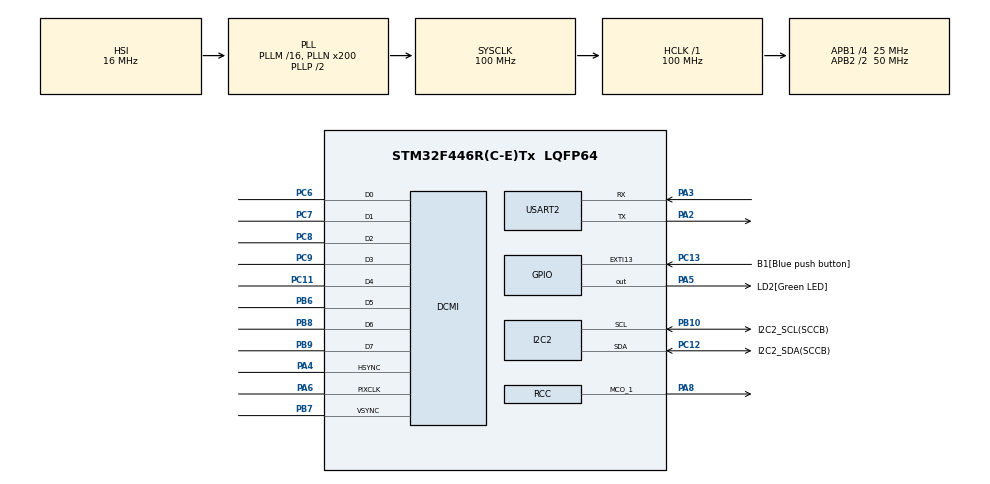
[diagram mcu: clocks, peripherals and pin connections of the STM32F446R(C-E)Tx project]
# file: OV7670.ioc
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DCMI.PCKPolarity=DCMI_PCKPOLARITY_RISING
DCMI.VSPolarity=DCMI_VSPOLARITY_HIGH
Dma.DCMI.0.Direction=DMA_PERIPH_TO_MEMORY
Dma.DCMI.0.FIFOMode=DMA_FIFOMODE_ENABLE
Dma.DCMI.0.FIFOThreshold=DMA_FIFO_THRESHOLD_FULL
Dma.DCMI.0.Instance=DMA2_Stream1
Dma.DCMI.0.MemBurst=DMA_MBURST_INC4
Dma.DCMI.0.MemDataAlignment=DMA_MDATAALIGN_WORD
Dma.DCMI.0.MemInc=DMA_MINC_ENABLE
Dma.DCMI.0.Mode=DMA_CIRCULAR
Dma.DCMI.0.PeriphBurst=DMA_PBURST_SINGLE
Dma.DCMI.0.PeriphDataAlignment=DMA_PDATAALIGN_WORD
Dma.DCMI.0.PeriphInc=DMA_PINC_DISABLE
Dma.DCMI.0.Priority=DMA_PRIORITY_HIGH
Dma.Request0=DCMI
Dma.Request1=USART2_TX
Dma.Request2=USART2_RX
Dma.USART2_RX.2.Direction=DMA_PERIPH_TO_MEMORY
Dma.USART2_RX.2.FIFOMode=DMA_FIFOMODE_DISABLE
Dma.USART2_RX.2.Instance=DMA1_Stream5
Dma.USART2_RX.2.MemDataAlignment=DMA_MDATAALIGN_BYTE
Dma.USART2_RX.2.MemInc=DMA_MINC_ENABLE
Dma.USART2_RX.2.Mode=DMA_NORMAL
Dma.USART2_RX.2.PeriphDataAlignment=DMA_PDATAALIGN_BYTE
Dma.USART2_RX.2.PeriphInc=DMA_PINC_DISABLE
Dma.USART2_RX.2.Priority=DMA_PRIORITY_LOW
Dma.USART2_TX.1.Direction=DMA_MEMORY_TO_PERIPH
Dma.USART2_TX.1.FIFOMode=DMA_FIFOMODE_DISABLE
Dma.USART2_TX.1.Instance=DMA1_Stream6
Dma.USART2_TX.1.MemDataAlignment=DMA_MDATAALIGN_BYTE
Dma.USART2_TX.1.MemInc=DMA_MINC_ENABLE
Dma.USART2_TX.1.Mode=DMA_NORMAL
Dma.USART2_TX.1.PeriphDataAlignment=DMA_PDATAALIGN_BYTE
Dma.USART2_TX.1.PeriphInc=DMA_PINC_DISABLE
Dma.USART2_TX.1.Priority=DMA_PRIORITY_LOW
Mcu.Family=STM32F4
Mcu.Name=STM32F446R(C-E)Tx
Mcu.Package=LQFP64
NVIC.DCMI_IRQn=true\:0\:0\:false\:false\:true\:true\:true
NVIC.DMA1_Stream5_IRQn=true\:0\:0\:false\:false\:true\:false\:true
NVIC.DMA1_Stream6_IRQn=true\:0\:0\:false\:false\:true\:false\:true
NVIC.DMA2_Stream1_IRQn=true\:5\:0\:true\:false\:true\:false\:true
NVIC.PriorityGroup=NVIC_PRIORITYGROUP_4
PA13.Signal=SYS_JTMS-SWDIO
PA14.Signal=SYS_JTCK-SWCLK
PA2.Mode=Asynchronous
PA2.Signal=USART2_TX
PA3.Mode=Asynchronous
PA3.Signal=USART2_RX
PA4.Mode=Slave_8_bits_External_Synchro
PA4.Signal=DCMI_HSYNC
PA5.GPIO_Label=LD2[Green LED]
PA5.Signal=GPIO_Output
PA6.Mode=Slave_8_bits_External_Synchro
PA6.Signal=DCMI_PIXCLK
PA8.Mode=Clock-out-1
PA8.Signal=RCC_MCO_1
PB10.GPIO_Label=I2C2_SCL(SCCB)
PB10.Mode=I2C
PB10.Signal=I2C2_SCL
PB3.Signal=SYS_JTDO-SWO
PB6.Mode=Slave_8_bits_External_Synchro
PB6.Signal=DCMI_D5
PB7.Mode=Slave_8_bits_External_Synchro
PB7.Signal=DCMI_VSYNC
PB8.Mode=Slave_8_bits_External_Synchro
PB8.Signal=DCMI_D6
PB9.Mode=Slave_8_bits_External_Synchro
PB9.Signal=DCMI_D7
PC11.Mode=Slave_8_bits_External_Synchro
PC11.Signal=DCMI_D4
PC12.GPIO_Label=I2C2_SDA(SCCB)
PC12.Mode=I2C
PC12.Signal=I2C2_SDA
PC13.GPIO_Label=B1[Blue push button]
PC13.Signal=GPXTI13
PC6.Mode=Slave_8_bits_External_Synchro
PC6.Signal=DCMI_D0
PC7.Mode=Slave_8_bits_External_Synchro
PC7.Signal=DCMI_D1
PC8.Mode=Slave_8_bits_External_Synchro
PC8.Signal=DCMI_D2
PC9.Mode=Slave_8_bits_External_Synchro
PC9.Signal=DCMI_D3
ProjectManager.HeapSize=0x200
ProjectManager.StackSize=0x400
ProjectManager.TargetToolchain=STM32CubeIDE
RCC.AHBFreq_Value=100000000
RCC.APB1CLKDivider=RCC_HCLK_DIV4
RCC.APB1Freq_Value=25000000
RCC.APB1TimFreq_Value=50000000
RCC.APB2CLKDivider=RCC_HCLK_DIV2
RCC.APB2Freq_Value=50000000
RCC.APB2TimFreq_Value=100000000
RCC.CortexFreq_Value=100000000
RCC.HCLKFreq_Value=100000000
RCC.PLLN=200
RCC.RCC_MCO1Source=RCC_MCO1SOURCE_PLLCLK
RCC.RCC_MCODiv1=RCC_MCODIV_4
RCC.SYSCLKFreq_VALUE=100000000
RCC.SYSCLKSource=RCC_SYSCLKSOURCE_PLLCLK
RCC.USBFreq_Value=100000000
RCC.VCOOutputFreq_Value=200000000
USART2.OverSampling=UART_OVERSAMPLING_16
USART2.VirtualMode=VM_ASYNC
board=custom

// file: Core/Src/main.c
/* USER CODE BEGIN Header */
/**
  ******************************************************************************
  * @file           : main.c
  * @brief          : Main program body
  ******************************************************************************
  * @attention
  *
  * <h2><center>&copy; Copyright (c) 2021 STMicroelectronics.
  * All rights reserved.</center></h2>
  *
  * This software component is licensed by ST under BSD 3-Clause license,
  * the "License"; You may not use this file except in compliance with the
  * License. You may obtain a copy of the License at:
  *                        opensource.org/licenses/BSD-3-Clause
  *
  ******************************************************************************
  */
/* USER CODE END Header */
#include "main.h"

/* USER CODE BEGIN Includes */
#include <stdio.h>
#include <stdbool.h>
#include <stdlib.h>
/* USER CODE END Includes */

/* USER CODE BEGIN PTD */
#ifdef __GNUC__
  /* With GCC, small printf (option LD Linker->Libraries->Small printf
     set to 'Yes') calls __io_putchar() */
  #define PUTCHAR_PROTOTYPE int __io_putchar(int ch)
#else
  #define PUTCHAR_PROTOTYPE int fputc(int ch, FILE *f)
#endif /* __GNUC__ */
/* USER CODE END PTD */

/* USER CODE BEGIN PD */
#define QVGA 320*240

/* USER CODE END PD */

DCMI_HandleTypeDef hdcmi;
DMA_HandleTypeDef hdma_dcmi;

I2C_HandleTypeDef hi2c2;

UART_HandleTypeDef huart2;
DMA_HandleTypeDef hdma_usart2_tx;
DMA_HandleTypeDef hdma_usart2_rx;

/* USER CODE BEGIN PV */

/* Image size */
static uint32_t frameBuffer[QVGA];
uint32_t picSize = 0;
/* USER CODE END PV */

void SystemClock_Config(void);
static void MX_GPIO_Init(void);
static void MX_USART2_UART_Init(void);
static void MX_I2C2_Init(void);
static void MX_DMA_Init(void);
static void MX_DCMI_Init(void);

int main(void)
{
  /* USER CODE BEGIN 1 */
//	uint16_t DevAddress_write = 0x42;
//	uint16_t DevAddress_read = 0x43;

  /* USER CODE END 1 */

  /* MCU Configuration--------------------------------------------------------*/

  /* Reset of all peripherals, Initializes the Flash interface and the Systick. */
  HAL_Init();

  /* Configure the system clock */
  SystemClock_Config();

  /* Initialize all configured peripherals */
  MX_GPIO_Init();
  MX_USART2_UART_Init();
  MX_I2C2_Init();
  MX_DMA_Init();
  MX_DCMI_Init();
  /* USER CODE BEGIN 2 */
  OV7670_Init();
  HAL_Delay(1000);  //Delay for the camera to output correct data
  Im_size =  0x9600;

  /* USER CODE END 2 */

  /* Infinite loop */
  while (1)
  {

    /* USER CODE BEGIN 3 */
	/* I2C code (SCCB) */
	if (HAL_GPIO_ReadPin(B1_GPIO_Port, B1_Pin) == GPIO_PIN_RESET){
		__HAL_DCMI_ENABLE_IT(&hdcmi, DCMI_IT_FRAME);
		memset((void *)frameBuffer, 0, sizeof(frameBuffer));// reset buffer
		HAL_DCMI_Start_DMA(&hdcmi, DCMI_MODE_SNAPSHOT, (uint32_t) FRAME_BUFFER, QVGA);// Start DCMI, will start DMA interrupt inside this function.
	}
//	if (latch){
//		latch = false;
//		HAL_DCMI_Start_DMA(&hdcmi, DCMI_MODE_SNAPSHOT, (uint32_t) FRAME_BUFFER, Im_size);
//		printf("Capture one photo\n");
//		/* SCCB */
//		/* SCCB is an i2c-like protocal */
//
//		/* Read manufacturer ID (High and Low) */
////		*data_write = OV7670_MIDH;
////		HAL_I2C_Master_Transmit(&hi2c2, DevAddress_write, data_write, 2, HAL_MAX_DELAY);// Write regiter address
////		HAL_I2C_Master_Receive(&hi2c2, DevAddress_read, data_read, 2, HAL_MAX_DELAY);// Receive from that register(Use data_read to catch info)
////		printf("The manufacturer IDDDDD: %d", *data_read);
////		*data_write = OV7670_MIDL;
////		HAL_I2C_Master_Transmit(&hi2c2, DevAddress_write, data_write, 2, HAL_MAX_DELAY);// Write regiter address
////		HAL_I2C_Master_Receive(&hi2c2, DevAddress_read, data_read, 2, HAL_MAX_DELAY);// Receive from that register(Use data_read to catch info)
////		printf("%d\r\n", *data_read);
////
//
//
//	}
  }
  /* USER CODE END 3 */
}

void SystemClock_Config(void)
{
  RCC_OscInitTypeDef RCC_OscInitStruct = {0};
  RCC_ClkInitTypeDef RCC_ClkInitStruct = {0};

  /** Configure the main internal regulator output voltage
  */
  __HAL_RCC_PWR_CLK_ENABLE();
  __HAL_PWR_VOLTAGESCALING_CONFIG(PWR_REGULATOR_VOLTAGE_SCALE3);
  /** Initializes the RCC Oscillators according to the specified parameters
  * in the RCC_OscInitTypeDef structure.
  */
  RCC_OscInitStruct.OscillatorType = RCC_OSCILLATORTYPE_HSI;
  RCC_OscInitStruct.HSIState = RCC_HSI_ON;
  RCC_OscInitStruct.HSICalibrationValue = RCC_HSICALIBRATION_DEFAULT;
  RCC_OscInitStruct.PLL.PLLState = RCC_PLL_ON;
  RCC_OscInitStruct.PLL.PLLSource = RCC_PLLSOURCE_HSI;
  RCC_OscInitStruct.PLL.PLLM = 16;
  RCC_OscInitStruct.PLL.PLLN = 200;
  RCC_OscInitStruct.PLL.PLLP = RCC_PLLP_DIV2;
  RCC_OscInitStruct.PLL.PLLQ = 2;
  RCC_OscInitStruct.PLL.PLLR = 2;
  if (HAL_RCC_OscConfig(&RCC_OscInitStruct) != HAL_OK)
  {
    Error_Handler();
  }
  /** Initializes the CPU, AHB and APB buses clocks
  */
  RCC_ClkInitStruct.ClockType = RCC_CLOCKTYPE_HCLK|RCC_CLOCKTYPE_SYSCLK
                              |RCC_CLOCKTYPE_PCLK1|RCC_CLOCKTYPE_PCLK2;
  RCC_ClkInitStruct.SYSCLKSource = RCC_SYSCLKSOURCE_PLLCLK;
  RCC_ClkInitStruct.AHBCLKDivider = RCC_SYSCLK_DIV1;
  RCC_ClkInitStruct.APB1CLKDivider = RCC_HCLK_DIV4;
  RCC_ClkInitStruct.APB2CLKDivider = RCC_HCLK_DIV2;

  if (HAL_RCC_ClockConfig(&RCC_ClkInitStruct, FLASH_LATENCY_3) != HAL_OK)
  {
    Error_Handler();
  }
  HAL_RCC_MCOConfig(RCC_MCO1, RCC_MCO1SOURCE_PLLCLK, RCC_MCODIV_4);
}

static void MX_DCMI_Init(void)
{

  /* USER CODE BEGIN DCMI_Init 0 */
  __HAL_RCC_DCMI_CLK_ENABLE();

  /* USER CODE END DCMI_Init 0 */

  hdcmi.Instance = DCMI;
  hdcmi.Init.SynchroMode = DCMI_SYNCHRO_HARDWARE;
  hdcmi.Init.PCKPolarity = DCMI_PCKPOLARITY_RISING;
  hdcmi.Init.VSPolarity = DCMI_VSPOLARITY_HIGH;
  hdcmi.Init.HSPolarity = DCMI_HSPOLARITY_LOW;
  hdcmi.Init.CaptureRate = DCMI_CR_ALL_FRAME;
  hdcmi.Init.ExtendedDataMode = DCMI_EXTEND_DATA_8B;
  hdcmi.Init.JPEGMode = DCMI_JPEG_DISABLE;
  hdcmi.Init.ByteSelectMode = DCMI_BSM_ALL;
  hdcmi.Init.ByteSelectStart = DCMI_OEBS_ODD;
  hdcmi.Init.LineSelectMode = DCMI_LSM_ALL;
  hdcmi.Init.LineSelectStart = DCMI_OELS_ODD;
  if (HAL_DCMI_Init(&hdcmi) != HAL_OK)
  {
    Error_Handler();
  }

}

static void MX_I2C2_Init(void)
{

  hi2c2.Instance = I2C2;
  hi2c2.Init.ClockSpeed = 100000;
  hi2c2.Init.DutyCycle = I2C_DUTYCYCLE_2;
  hi2c2.Init.OwnAddress1 = 0;
  hi2c2.Init.AddressingMode = I2C_ADDRESSINGMODE_7BIT;
  hi2c2.Init.DualAddressMode = I2C_DUALADDRESS_DISABLE;
  hi2c2.Init.OwnAddress2 = 0;
  hi2c2.Init.GeneralCallMode = I2C_GENERALCALL_DISABLE;
  hi2c2.Init.NoStretchMode = I2C_NOSTRETCH_DISABLE;
  if (HAL_I2C_Init(&hi2c2) != HAL_OK)
  {
    Error_Handler();
  }

}

static void MX_USART2_UART_Init(void)
{

  huart2.Instance = USART2;
  huart2.Init.BaudRate = 115200;
  huart2.Init.WordLength = UART_WORDLENGTH_8B;
  huart2.Init.StopBits = UART_STOPBITS_1;
  huart2.Init.Parity = UART_PARITY_NONE;
  huart2.Init.Mode = UART_MODE_TX_RX;
  huart2.Init.HwFlowCtl = UART_HWCONTROL_NONE;
  huart2.Init.OverSampling = UART_OVERSAMPLING_16;
  if (HAL_UART_Init(&huart2) != HAL_OK)
  {
    Error_Handler();
  }

}

static void MX_DMA_Init(void)
{

  /* DMA controller clock enable */
  __HAL_RCC_DMA2_CLK_ENABLE();
  __HAL_RCC_DMA1_CLK_ENABLE();

  /* DMA interrupt init */
  /* DMA1_Stream5_IRQn interrupt configuration */
  HAL_NVIC_SetPriority(DMA1_Stream5_IRQn, 0, 0);
  HAL_NVIC_EnableIRQ(DMA1_Stream5_IRQn);
  /* DMA1_Stream6_IRQn interrupt configuration */
  HAL_NVIC_SetPriority(DMA1_Stream6_IRQn, 0, 0);
  HAL_NVIC_EnableIRQ(DMA1_Stream6_IRQn);
  /* DMA2_Stream1_IRQn interrupt configuration */
  HAL_NVIC_SetPriority(DMA2_Stream1_IRQn, 5, 0);
  HAL_NVIC_EnableIRQ(DMA2_Stream1_IRQn);

}

static void MX_GPIO_Init(void)
{
  GPIO_InitTypeDef GPIO_InitStruct = {0};

  /* GPIO Ports Clock Enable */
  __HAL_RCC_GPIOC_CLK_ENABLE();
  __HAL_RCC_GPIOA_CLK_ENABLE();
  __HAL_RCC_GPIOB_CLK_ENABLE();

  /*Configure GPIO pin Output Level */
  HAL_GPIO_WritePin(LD2_GPIO_Port, LD2_Pin, GPIO_PIN_RESET);

  /*Configure GPIO pin : B1_Pin */
  GPIO_InitStruct.Pin = B1_Pin;
  GPIO_InitStruct.Mode = GPIO_MODE_IT_RISING;
  GPIO_InitStruct.Pull = GPIO_NOPULL;
  HAL_GPIO_Init(B1_GPIO_Port, &GPIO_InitStruct);

  /*Configure GPIO pin : LD2_Pin */
  GPIO_InitStruct.Pin = LD2_Pin;
  GPIO_InitStruct.Mode = GPIO_MODE_OUTPUT_PP;
  GPIO_InitStruct.Pull = GPIO_NOPULL;
  GPIO_InitStruct.Speed = GPIO_SPEED_FREQ_LOW;
  HAL_GPIO_Init(LD2_GPIO_Port, &GPIO_InitStruct);

  /*Configure GPIO pin : PA8 */
  GPIO_InitStruct.Pin = GPIO_PIN_8;
  GPIO_InitStruct.Mode = GPIO_MODE_AF_PP;
  GPIO_InitStruct.Pull = GPIO_NOPULL;
  GPIO_InitStruct.Speed = GPIO_SPEED_FREQ_LOW;
  GPIO_InitStruct.Alternate = GPIO_AF0_MCO;
  HAL_GPIO_Init(GPIOA, &GPIO_InitStruct);

}

/* USER CODE BEGIN 4 */
PUTCHAR_PROTOTYPE
{
  /* Place your implementation of fputc here */
  /* e.g. write a character to the EVAL_COM1 and Loop until the end of transmission */
  HAL_UART_Transmit(&huart2, (uint8_t *)&ch, 1, 0xFFFF);

  return ch;
}

/* USER CODE END 4 */

void Error_Handler(void)
{
  __disable_irq();
  while (1)
  {
  }
}
